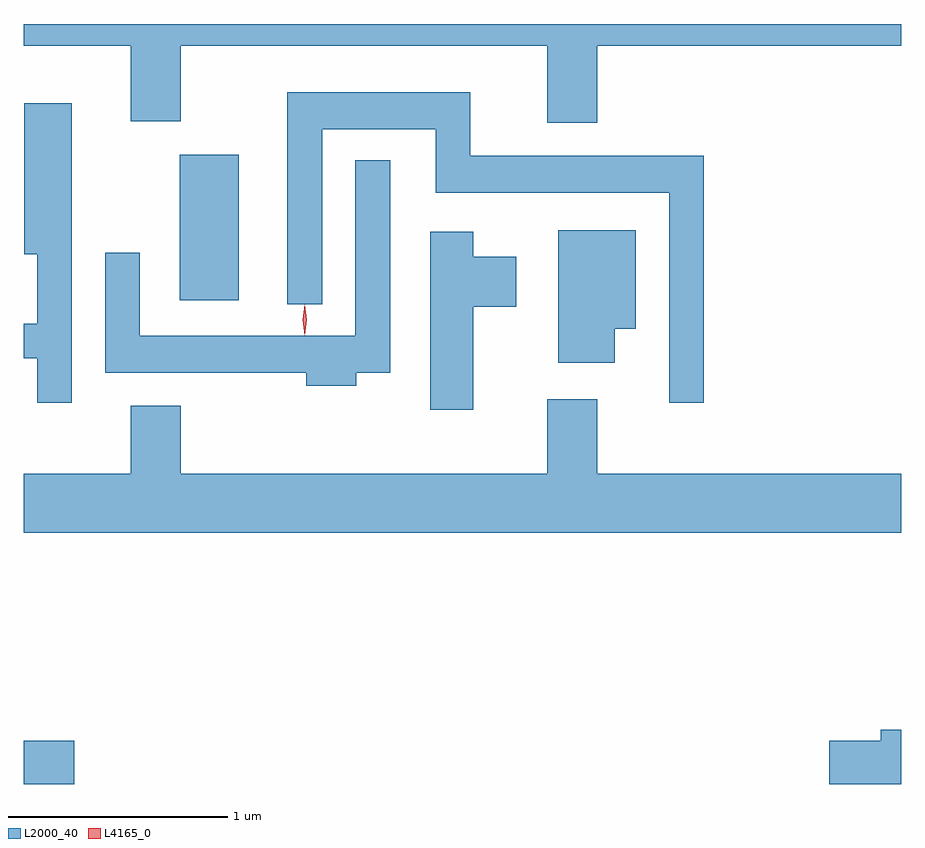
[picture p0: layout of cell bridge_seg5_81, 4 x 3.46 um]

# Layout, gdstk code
import gdstk
lib = gdstk.Library(unit=1e-6, precision=1e-09)
def R(c, l, rs):  # rectangles x0, y0, x1, y1
    for r in rs: c.add(gdstk.rectangle(r[:2], r[2:], *l))
def P(c, l, *ps):  # polygons
    for p in ps: c.add(gdstk.Polygon(p, *l))
L2000_40 = (2000, 40)
L4165_0 = (4165, 0)

bridge_seg5_81 = lib.new_cell('bridge_seg5_81')
R(bridge_seg5_81, L2000_40, [(1217.624,1484.511,1217.854,1484.709), (1218.336,1486.716,1218.604,1487.379)])
P(bridge_seg5_81, L2000_40, [(1220.239,1487.876),(1221.624,1487.876),(1221.624,1487.975),(1217.624,1487.975),(1217.624,1487.876),(1218.111,1487.876),(1218.111,1487.531),(1218.339,1487.531),(1218.339,1487.876),(1220.011,1487.876),(1220.011,1487.526),(1220.239,1487.526)],
  [(1220.724,1487.374),(1219.659,1487.374),(1219.659,1487.664),(1218.826,1487.664),(1218.826,1486.698),(1218.984,1486.698),(1218.984,1487.496),(1219.501,1487.496),(1219.501,1487.206),(1220.566,1487.206),(1220.566,1486.248),(1220.724,1486.248)],
  [(1217.844,1487.614),(1217.626,1487.614),(1217.626,1486.926),(1217.686,1486.926),(1217.686,1486.609),(1217.624,1486.609),(1217.624,1486.451),(1217.686,1486.451),(1217.686,1486.248),(1217.844,1486.248)],
  [(1219.139,1486.386),(1219.294,1486.386),(1219.294,1487.353),(1219.136,1487.353),(1219.136,1486.554),(1218.154,1486.554),(1218.154,1486.933),(1217.996,1486.933),(1217.996,1486.386),(1218.911,1486.386),(1218.911,1486.326),(1219.139,1486.326)],
  [(1220.319,1486.586),(1220.414,1486.586),(1220.414,1487.034),(1220.061,1487.034),(1220.061,1486.431),(1220.319,1486.431)],
  [(1219.674,1486.686),(1219.869,1486.686),(1219.869,1486.914),(1219.674,1486.914),(1219.674,1487.029),(1219.476,1487.029),(1219.476,1486.216),(1219.674,1486.216)],
  [(1221.624,1485.924),(1220.239,1485.924),(1220.239,1486.264),(1220.011,1486.264),(1220.011,1485.924),(1218.339,1485.924),(1218.339,1486.234),(1218.111,1486.234),(1218.111,1485.924),(1217.624,1485.924),(1217.624,1485.656),(1221.624,1485.656)],
  [(1221.624,1484.759),(1221.531,1484.759),(1221.531,1484.709),(1221.296,1484.709),(1221.296,1484.511),(1221.624,1484.511)])
P(bridge_seg5_81, L4165_0, [(1218.905,1486.559),(1218.904,1486.56),(1218.895,1486.626),(1218.904,1486.692),(1218.905,1486.693),(1218.905,1486.692),(1218.915,1486.626),(1218.905,1486.56)],
  [(1218.904,1486.557),(1218.895,1486.626),(1218.904,1486.696),(1218.905,1486.696),(1218.906,1486.696),(1218.915,1486.626),(1218.906,1486.557),(1218.905,1486.557)])

lib.write_gds('bridge_seg5_81.gds')
